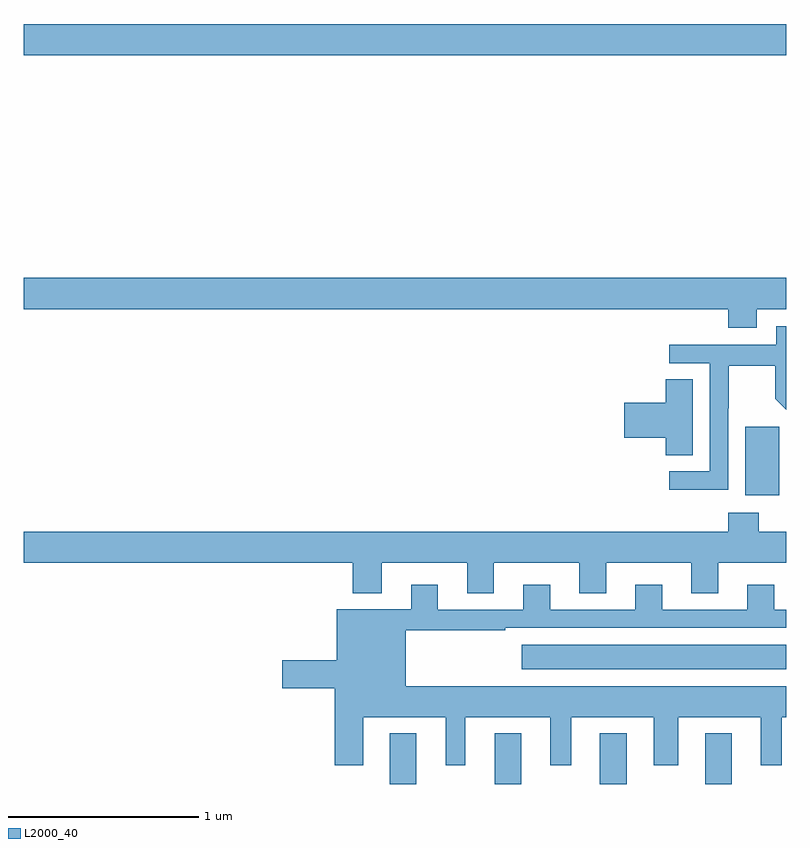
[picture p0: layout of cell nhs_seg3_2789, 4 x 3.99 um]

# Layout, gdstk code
import gdstk
lib = gdstk.Library(unit=1e-6, precision=1e-09)
def R(c, l, rs):  # rectangles x0, y0, x1, y1
    for r in rs: c.add(gdstk.rectangle(r[:2], r[2:], *l))
def A(c, l, x, y, w, h, nx, ny, dx, dy):  # array of equal rectangles
    R(c, l, [(x+i*dx, y+j*dy, x+i*dx+w, y+j*dy+h) for i in range(nx) for j in range(ny)])
def P(c, l, *ps):  # polygons
    for p in ps: c.add(gdstk.Polygon(p, *l))
L2000_40 = (2000, 40)

nhs_seg3_2789 = lib.new_cell('nhs_seg3_2789')
A(nhs_seg3_2789, L2000_40, 256.919, 722.4, 0.14, 0.265, 4, 1, 0.552, 0)
R(nhs_seg3_2789, L2000_40, [(257.613,723.002,259,723.13), (258.785,723.914,258.964,724.275), (255,726.224,259,726.388)])
P(nhs_seg3_2789, L2000_40, [(258.847,724.892),(259,724.892),(259,725.056),(255,725.056),(255,724.892),(258.695,724.892),(258.695,724.793),(258.847,724.793)],
  [(258.696,724.372),(258.699,724.372),(258.699,724.596),(258.943,724.596),(258.943,724.421),(259,724.364),(259,724.801),(258.948,724.801),(258.948,724.704),(258.387,724.704),(258.387,724.608),(258.6,724.608),(258.6,724.041),(258.387,724.041),(258.387,723.943),(258.696,723.943)],
  [(258.511,724.523),(258.368,724.523),(258.368,724.4),(258.15,724.4),(258.15,724.217),(258.368,724.217),(258.368,724.126),(258.511,724.126)],
  [(259,723.724),(258.855,723.724),(258.855,723.823),(258.695,723.823),(258.695,723.724),(255,723.724),(255,723.56),(256.727,723.56),(256.727,723.401),(256.879,723.401),(256.879,723.56),(257.327,723.56),(257.327,723.4),(257.467,723.4),(257.467,723.56),(257.915,723.56),(257.915,723.4),(258.055,723.4),(258.055,723.56),(258.503,723.56),(258.503,723.4),(258.643,723.4),(258.643,723.56),(259,723.56)],
  [(256.78,722.75),(257.213,722.75),(257.213,722.499),(257.317,722.499),(257.317,722.75),(257.762,722.75),(257.762,722.499),(257.872,722.499),(257.872,722.75),(258.305,722.75),(258.305,722.499),(258.433,722.499),(258.433,722.75),(258.866,722.75),(258.866,722.499),(258.976,722.499),(258.976,722.75),(259,722.75),(259,722.914),(257.005,722.914),(257.005,723.207),(257.525,723.207),(257.525,723.219),(259,723.219),(259,723.315),(258.937,723.315),(258.937,723.445),(258.797,723.445),(258.797,723.315),(258.349,723.315),(258.349,723.445),(258.209,723.445),(258.209,723.315),(257.761,723.315),(257.761,723.445),(257.621,723.445),(257.621,723.315),(257.173,723.315),(257.173,723.445),(257.033,723.445),(257.033,723.316),(256.643,723.316),(256.643,723.05),(256.356,723.05),(256.356,722.903),(256.631,722.903),(256.631,722.499),(256.78,722.499)])

lib.write_gds('nhs_seg3_2789.gds')
